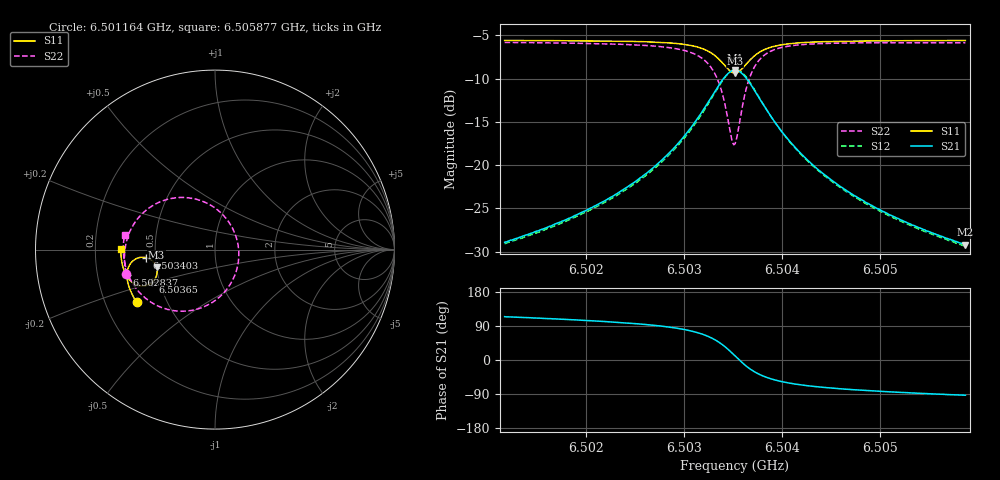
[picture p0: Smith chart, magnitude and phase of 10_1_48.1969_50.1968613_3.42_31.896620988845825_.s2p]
#  HZ  S  RI  R  50.00
! Rohde & Schwarz Vector Network Analyzer
! Rohde-Schwarz,ZNB20-2Port,1311601062101988,3.16
! Created: UTC 3/20/2024, 11:36:30 AM
! freq[Hz]  re:S11  im:S11  re:S21  im:S21  re:S12  im:S12  re:S22  im:S22
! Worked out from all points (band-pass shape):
!   401 points, 6.501164 GHz to 6.505877 GHz, reference 50 ohm
!   highest |S21| = -9.02 dB at 6.50352 GHz (marker M1); lowest = -29.2 dB at 6.505877 GHz (marker M2)
!   |S21| within 3 dB of the highest: 6.503285 GHz to 6.503756 GHz (471.3 kHz wide, 0.00725 % of centre)
!   lowest |S11| = -9.4 dB at 6.50352 GHz (marker M3), VSWR 2.03, Z = 25 - j5.62 ohm
!   |S11| at or under -10 dB: nowhere
!   |S22| runs from -17.6 to -5.8 dB; largest |S21 - S12| = 0.012
!   S11 on the Smith chart (normalised r, x): 6.501164 GHz: 0.34, -0.27; 6.502837 GHz: 0.33, -0.12; 6.503403 GHz: 0.45, -0.05; 6.50365 GHz: 0.46, -0.20; 6.505877 GHz: 0.31, +0.00
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6.5011641e9  -0.4361 -0.2947  -0.0148 0.0326  -0.0129 0.0326  -0.4951 -0.1333
6.5019535e9  -0.4687 -0.2345  -0.0137 0.0515  -0.0112 0.051  -0.5046 -0.0453
6.5023776e9  -0.4828 -0.1955  -0.0105 0.0714  -0.00739 0.0701  -0.4992 0.0185
6.5027428e9  -0.4904 -0.1531  -0.000198 0.1033  0.00332 0.1007  -0.476 0.0971
6.5028371e9  -0.4907 -0.1396  0.00576 0.1159  0.00947 0.1127  -0.4631 0.1237
6.5030374e9  -0.4848 -0.1048  0.0308 0.1528  0.0344 0.1479  -0.4107 0.1948
6.5031788e9  -0.4683 -0.0743  0.0727 0.188  0.0753 0.1816  -0.3298 0.2549
6.5033084e9  -0.4305 -0.047  0.1533 0.2142  0.1539 0.2077  -0.1832 0.2906
6.5034026e9  -0.3818 -0.0449  0.2487 0.1962  0.2487 0.1915  -0.018 0.2439
6.5034851e9  -0.337 -0.0761  0.3299 0.1176  0.3326 0.1134  0.1115 0.0886
6.5035204e9  -0.3258 -0.0994  0.3478 0.0666  0.3519 0.061  0.1325 -0.00787
6.503544e9  -0.3228 -0.1165  0.351 0.0302  0.3555 0.0234  0.1291 -0.0743
6.5035793e9  -0.3251 -0.1419  0.3431 -0.0221  0.347 -0.0315  0.0996 -0.1674
6.50365e9  -0.3483 -0.1807  0.2937 -0.1013  0.2938 -0.1135  -0.0168 -0.2955
6.5037443e9  -0.3909 -0.2016  0.2117 -0.146  0.2066 -0.1568  -0.1841 -0.3433
6.503815e9  -0.4181 -0.2016  0.162 -0.1512  0.1549 -0.1594  -0.2769 -0.3296
6.5038974e9  -0.4421 -0.1943  0.1198 -0.1447  0.1122 -0.1504  -0.3509 -0.2965
6.5040624e9  -0.472 -0.1732  0.07 -0.1225  0.0631 -0.1252  -0.4317 -0.2264
6.5043098e9  -0.4951 -0.142  0.0358 -0.0945  0.0307 -0.0949  -0.4807 -0.1462
6.5046632e9  -0.511 -0.1035  0.0158 -0.0692  0.0122 -0.069  -0.5041 -0.0692
6.5050991e9  -0.5205 -0.062  0.00552 -0.0514  0.00306 -0.0507  -0.5107 -0.00322
6.5058767e9  -0.5261 0.00489  -0.00178 -0.0347  -0.00323 -0.0338  -0.5038 0.0829
